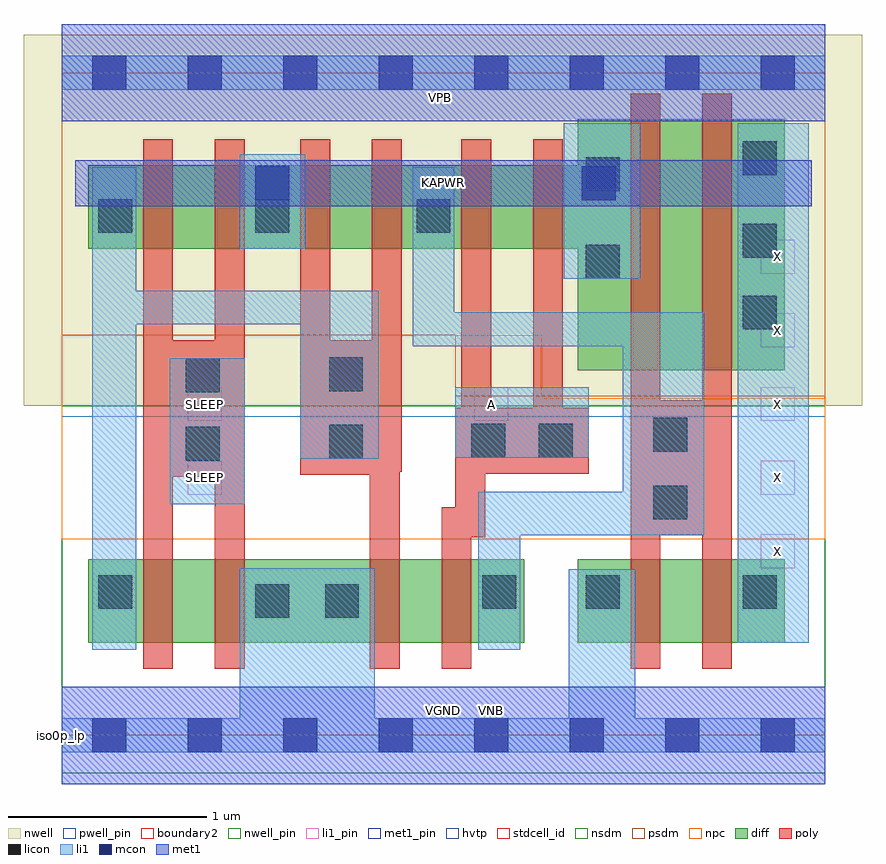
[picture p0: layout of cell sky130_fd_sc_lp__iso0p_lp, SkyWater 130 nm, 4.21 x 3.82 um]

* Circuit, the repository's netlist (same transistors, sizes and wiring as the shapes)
* Copyright 2020 The SkyWater PDK Authors
*
* Licensed under the Apache License, Version 2.0 (the "License");
* you may not use this file except in compliance with the License.
* You may obtain a copy of the License at
*
*     https://www.apache.org/licenses/LICENSE-2.0
*
* Unless required by applicable law or agreed to in writing, software
* distributed under the License is distributed on an "AS IS" BASIS,
* WITHOUT WARRANTIES OR CONDITIONS OF ANY KIND, either express or implied.
* See the License for the specific language governing permissions and
* limitations under the License.
*
* SPDX-License-Identifier: Apache-2.0

.SUBCKT sky130_fd_sc_lp__iso0p_lp A KAPWR SLEEP VGND VNB VPB VPWR X
*.PININFO A:I KAPWR:I SLEEP:I VGND:I VNB:I VPB:I VPWR:I X:O
MI9 X y net71 VPB sky130_fd_pr__pfet_01v8_hvt m=1 w=1.26U l=0.15U mult=1 sa=0.265
+ sb=0.265 sd=0.28 area=0.063 perim=1.14
MI8 net43 A KAPWR VPB sky130_fd_pr__pfet_01v8_hvt m=1 w=0.42U l=0.15U mult=1 sa=0.265
+ sb=0.265 sd=0.28 area=0.063 perim=1.14
MMIP0 sleepb SLEEP net63 VPB sky130_fd_pr__pfet_01v8_hvt m=1 w=0.42U l=0.15U mult=1
+ sa=0.265 sb=0.265 sd=0.28 area=0.063 perim=1.14
MI7 net47 sleepb KAPWR VPB sky130_fd_pr__pfet_01v8_hvt m=1 w=0.42U l=0.15U mult=1
+ sa=0.265 sb=0.265 sd=0.28 area=0.063 perim=1.14
MI20 net71 y KAPWR VPB sky130_fd_pr__pfet_01v8_hvt m=1 w=1.26U l=0.15U mult=1 sa=0.265
+ sb=0.265 sd=0.28 area=0.063 perim=1.14
MI19 net63 SLEEP KAPWR VPB sky130_fd_pr__pfet_01v8_hvt m=1 w=0.42U l=0.15U mult=1
+ sa=0.265 sb=0.265 sd=0.28 area=0.063 perim=1.14
MI17 y sleepb net47 VPB sky130_fd_pr__pfet_01v8_hvt m=1 w=0.42U l=0.15U mult=1
+ sa=0.265 sb=0.265 sd=0.28 area=0.063 perim=1.14
MI16 y A net43 VPB sky130_fd_pr__pfet_01v8_hvt m=1 w=0.42U l=0.15U mult=1 sa=0.265
+ sb=0.265 sd=0.28 area=0.063 perim=1.14
MMIN0 sleepb SLEEP net84 VNB sky130_fd_pr__nfet_01v8 m=1 w=0.42U l=0.15U mult=1
+ sa=0.265 sb=0.265 sd=0.28 area=0.063 perim=1.14
MI10 y A sndA VNB sky130_fd_pr__nfet_01v8 m=1 w=0.42U l=0.15U mult=1 sa=0.265 sb=0.265
+ sd=0.28 area=0.063 perim=1.14
MI21 net88 y VGND VNB sky130_fd_pr__nfet_01v8 m=1 w=0.42U l=0.15U mult=1 sa=0.265
+ sb=0.265 sd=0.28 area=0.063 perim=1.14
MI18 net84 SLEEP VGND VNB sky130_fd_pr__nfet_01v8 m=1 w=0.42U l=0.15U mult=1 sa=0.265
+ sb=0.265 sd=0.28 area=0.063 perim=1.14
MI12 X y net88 VNB sky130_fd_pr__nfet_01v8 m=1 w=0.42U l=0.15U mult=1 sa=0.265
+ sb=0.265 sd=0.28 area=0.063 perim=1.14
MI11 sndA sleepb VGND VNB sky130_fd_pr__nfet_01v8 m=1 w=0.42U l=0.15U mult=1 sa=0.265
+ sb=0.265 sd=0.28 area=0.063 perim=1.14
.ENDS sky130_fd_sc_lp__iso0p_lp

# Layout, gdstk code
import gdstk
lib = gdstk.Library(unit=1e-6, precision=1e-09)
def R(c, l, rs):  # rectangles x0, y0, x1, y1
    for r in rs: c.add(gdstk.rectangle(r[:2], r[2:], *l))
def A(c, l, x, y, w, h, nx, ny, dx, dy):  # array of equal rectangles
    R(c, l, [(x+i*dx, y+j*dy, x+i*dx+w, y+j*dy+h) for i in range(nx) for j in range(ny)])
def P(c, l, *ps):  # polygons
    for p in ps: c.add(gdstk.Polygon(p, *l))
nwell_pin = (64, 16)
nwell = (64, 20)
diff = (65, 20)
poly = (66, 20)
licon = (66, 44)
li1_pin = (67, 16)
li1 = (67, 20)
mcon = (67, 44)
met1_pin = (68, 16)
met1 = (68, 20)
hvtp = (78, 44)
stdcell_id = (81, 4)
nsdm = (93, 44)
psdm = (94, 20)
npc = (95, 20)
pwell_pin = (122, 16)
boundary2 = (236, 0)

sky130_fd_sc_lp__iso0p_l = lib.new_cell('sky130_fd_sc_lp__iso0p_lp')
R(sky130_fd_sc_lp__iso0p_l, nwell_pin, [(0,3.085,3.84,3.33)])
R(sky130_fd_sc_lp__iso0p_l, nwell, [(-0.19,1.655,4.025,3.52)])
R(sky130_fd_sc_lp__iso0p_l, diff, [(0.135,0.465,2.325,0.885), (2.595,0.465,3.635,0.885)])
P(sky130_fd_sc_lp__iso0p_l, diff, [(3.635,3.095),(2.595,3.095),(2.595,2.865),(0.135,2.865),(0.135,2.445),(2.595,2.445),(2.595,1.835),(3.635,1.835)])
P(sky130_fd_sc_lp__iso0p_l, poly, [(0.92,2.995),(0.77,2.995),(0.77,1.985),(0.56,1.985),(0.56,2.995),(0.41,2.995),(0.41,0.335),(0.56,0.335),(0.56,1.3),(0.77,1.3),(0.77,0.335),(0.92,0.335)],
  [(1.71,2.995),(1.56,2.995),(1.56,1.985),(1.35,1.985),(1.35,2.995),(1.2,2.995),(1.2,1.31),(1.55,1.31),(1.55,0.335),(1.7,0.335),(1.7,1.325),(1.71,1.325)],
  [(2.65,1.645),(2.52,1.645),(2.52,2.995),(2.37,2.995),(2.37,1.645),(2.16,1.645),(2.16,2.995),(2.01,2.995),(2.01,1.645),(1.98,1.645),(1.98,1.145),(1.91,1.145),(1.91,0.335),(2.06,0.335),(2.06,0.995),(2.13,0.995),(2.13,1.315),(2.65,1.315)],
  [(3.37,3.225),(3.22,3.225),(3.22,1.685),(3.01,1.685),(3.01,3.225),(2.86,3.225),(2.86,0.335),(3.01,0.335),(3.01,1.005),(3.22,1.005),(3.22,0.335),(3.37,0.335)])
R(sky130_fd_sc_lp__iso0p_l, licon, [(0.975,0.59,1.145,0.76), (1.325,0.59,1.495,0.76), (0.185,0.635,0.355,0.805), (2.115,0.635,2.285,0.805), (2.635,0.635,2.805,0.805), (3.425,0.635,3.595,0.805), (2.975,1.085,3.145,1.255), (0.625,1.38,0.795,1.55), (1.345,1.39,1.515,1.56), (2.06,1.395,2.23,1.565), (2.4,1.395,2.57,1.565), (2.975,1.425,3.145,1.595), (0.625,1.725,0.795,1.895), (1.345,1.73,1.515,1.9), (3.425,2.04,3.595,2.21), (2.635,2.295,2.805,2.465), (3.425,2.4,3.595,2.57), (0.185,2.525,0.355,2.695), (0.975,2.525,1.145,2.695), (1.785,2.525,1.955,2.695), (2.635,2.735,2.805,2.905), (3.425,2.815,3.595,2.985)])
A(sky130_fd_sc_lp__iso0p_l, li1_pin, 0.635, 1.58, 0.17, 0.17, 3, 1, 1.44, 0)
R(sky130_fd_sc_lp__iso0p_l, li1_pin, [(3.515,0.84,3.685,1.01), (0.635,1.21,0.805,1.38), (3.515,1.21,3.685,1.38), (3.515,1.95,3.685,2.12), (3.515,2.32,3.685,2.49)])
R(sky130_fd_sc_lp__iso0p_l, li1, [(3.4,0.465,3.755,3.075), (0.545,1.16,0.92,1.895), (1.98,1.395,2.65,1.75), (2.525,2.295,2.91,3.075), (0.895,2.445,1.225,2.92), (0,3.245,3.84,3.415)])
P(sky130_fd_sc_lp__iso0p_l, li1, [(1.595,2.235),(0.375,2.235),(0.375,2.855),(0.155,2.855),(0.155,0.43),(0.375,0.43),(0.375,2.065),(1.2,2.065),(1.2,1.39),(1.595,1.39)],
  [(3.23,2.125),(1.975,2.125),(1.975,2.855),(1.765,2.855),(1.765,1.955),(2.82,1.955),(2.82,1.225),(2.095,1.225),(2.095,0.43),(2.305,0.43),(2.305,1.005),(3.23,1.005)],
  [(3.84,0.085),(2.885,0.085),(2.885,0.835),(2.55,0.835),(2.55,0.085),(1.575,0.085),(1.575,0.84),(0.895,0.84),(0.895,0.085),(0,0.085),(0,-0.085),(3.84,-0.085)])
A(sky130_fd_sc_lp__iso0p_l, mcon, 0.155, -0.085, 0.17, 0.17, 8, 2, 0.48, 3.33)
R(sky130_fd_sc_lp__iso0p_l, mcon, [(0.975,2.69,1.145,2.86), (2.615,2.69,2.785,2.86)])
R(sky130_fd_sc_lp__iso0p_l, met1_pin, [(0,0,3.84,0.245), (0.07,2.66,3.77,2.89), (0,3.085,3.84,3.33)])
R(sky130_fd_sc_lp__iso0p_l, met1, [(0,-0.245,3.84,0.245), (0.07,2.66,3.77,2.89), (0,3.085,3.84,3.575)])
R(sky130_fd_sc_lp__iso0p_l, hvtp, [(0,1.6,3.84,3.33)])
R(sky130_fd_sc_lp__iso0p_l, stdcell_id, [(0,0,3.84,3.33)])
R(sky130_fd_sc_lp__iso0p_l, nsdm, [(0,-0.19,3.84,1.655)])
P(sky130_fd_sc_lp__iso0p_l, psdm, [(3.84,3.52),(0,3.52),(0,2.01),(1.98,2.01),(1.98,1.705),(3.84,1.705)])
P(sky130_fd_sc_lp__iso0p_l, npc, [(3.84,1.695),(2.415,1.695),(2.415,2.01),(0,2.01),(0,0.985),(3.84,0.985)])
R(sky130_fd_sc_lp__iso0p_l, pwell_pin, [(0,0,3.84,0.245)])
R(sky130_fd_sc_lp__iso0p_l, boundary2, [(0,0,3.84,3.33)])
sky130_fd_sc_lp__iso0p_l.add(gdstk.Label('VNB', (2.16,0.123), layer=64, texttype=59))
sky130_fd_sc_lp__iso0p_l.add(gdstk.Label('X', (3.6,2.035), layer=67, texttype=5))
sky130_fd_sc_lp__iso0p_l.add(gdstk.Label('X', (3.6,2.405), layer=67, texttype=5))
sky130_fd_sc_lp__iso0p_l.add(gdstk.Label('X', (3.6,0.925), layer=67, texttype=5))
sky130_fd_sc_lp__iso0p_l.add(gdstk.Label('X', (3.6,1.665), layer=67, texttype=5))
sky130_fd_sc_lp__iso0p_l.add(gdstk.Label('SLEEP', (0.72,1.665), layer=67, texttype=5))
sky130_fd_sc_lp__iso0p_l.add(gdstk.Label('X', (3.6,1.295), layer=67, texttype=5))
sky130_fd_sc_lp__iso0p_l.add(gdstk.Label('A', (2.16,1.665), layer=67, texttype=5))
sky130_fd_sc_lp__iso0p_l.add(gdstk.Label('SLEEP', (0.72,1.295), layer=67, texttype=5))
sky130_fd_sc_lp__iso0p_l.add(gdstk.Label('VPB', (1.905,3.208), layer=64, texttype=5))
sky130_fd_sc_lp__iso0p_l.add(gdstk.Label('iso0p_lp', (0,0), layer=83, texttype=44))
sky130_fd_sc_lp__iso0p_l.add(gdstk.Label('KAPWR', (1.92,2.778), layer=68, texttype=5))
sky130_fd_sc_lp__iso0p_l.add(gdstk.Label('VPWR', (1.92,3.21), layer=68, texttype=5))
sky130_fd_sc_lp__iso0p_l.add(gdstk.Label('VGND', (1.92,0.125), layer=68, texttype=5))

lib.write_gds('sky130_fd_sc_lp__iso0p_lp.gds')
